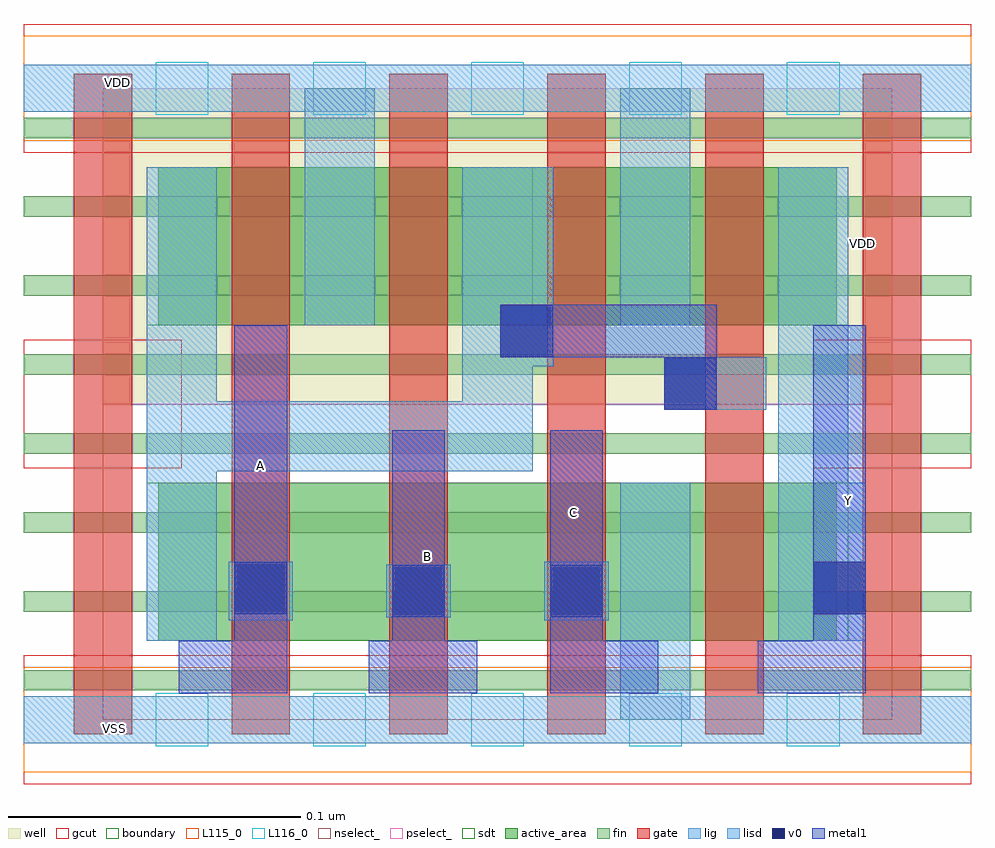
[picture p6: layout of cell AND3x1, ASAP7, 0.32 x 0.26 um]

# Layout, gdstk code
import gdstk
lib = gdstk.Library(unit=1e-6, precision=2.5e-10)
def R(c, l, rs):  # rectangles x0, y0, x1, y1
    for r in rs: c.add(gdstk.rectangle(r[:2], r[2:], *l))
def A(c, l, x, y, w, h, nx, ny, dx, dy):  # array of equal rectangles
    R(c, l, [(x+i*dx, y+j*dy, x+i*dx+w, y+j*dy+h) for i in range(nx) for j in range(ny)])
def P(c, l, *ps):  # polygons
    for p in ps: c.add(gdstk.Polygon(p, *l))
well = (1, 0)
fin = (2, 0)
gate = (7, 0)
gcut = (10, 0)
active_area = (11, 0)
nselect_ = (12, 0)
pselect_ = (13, 0)
lig = (16, 0)
lisd = (17, 0)
v0 = (18, 0)
metal1 = (19, 0)
sdt = (88, 0)
boundary = (100, 0)
L115_0 = (115, 0)
L116_0 = (116, 0)

and3x1 = lib.new_cell('AND3x1')
R(and3x1, well, [(0,0.108,0.27,0.216)])
A(and3x1, fin, -0.027, 0.01, 0.324, 0.007, 1, 8, 0, 0.027)
A(and3x1, gate, -0.01, -0.005, 0.02, 0.226, 6, 1, 0.054, 0)
R(and3x1, gate, [(0.26,-0.005,0.28,0.221), (0.26,-0.005,0.28,0.221), (0.26,-0.005,0.28,0.221), (0.26,-0.005,0.28,0.221)])
R(and3x1, gcut, [(-0.027,-0.022,0.297,0.022), (-0.027,0.086,0.027,0.13), (0.243,0.086,0.297,0.13), (-0.027,0.194,0.297,0.238)])
R(and3x1, active_area, [(0.019,0.027,0.251,0.081), (0.019,0.135,0.251,0.189)])
R(and3x1, nselect_, [(0,0,0.27,0.108)])
R(and3x1, pselect_, [(0,0.108,0.27,0.216)])
R(and3x1, lig, [(-0.027,-0.008,0.297,0.008), (0.043,0.034,0.065,0.054), (0.151,0.034,0.173,0.054), (0.097,0.035,0.119,0.053), (0.192,0.106,0.227,0.124), (-0.027,0.208,0.297,0.224)])
R(and3x1, lisd, [(0.177,0,0.201,0.081), (0.231,0.027,0.255,0.189), (0.237,0.027,0.261,0.081), (0.069,0.135,0.093,0.216), (0.177,0.135,0.201,0.216)])
P(and3x1, lisd, [(0.154,0.189),(0.123,0.189),(0.123,0.109),(0.039,0.109),(0.039,0.189),(0.015,0.189),(0.015,0.027),(0.039,0.027),(0.039,0.085),(0.147,0.085),(0.147,0.121),(0.154,0.121)])
R(and3x1, v0, [(0.099,0.035,0.117,0.053), (0.153,0.035,0.171,0.053), (0.045,0.036,0.063,0.054), (0.243,0.036,0.261,0.054), (0.192,0.106,0.21,0.124), (0.136,0.124,0.154,0.142)])
R(and3x1, metal1, [(0.026,0.009,0.063,0.027), (0.045,0.009,0.063,0.135), (0.091,0.009,0.128,0.027), (0.099,0.009,0.117,0.099), (0.153,0.009,0.19,0.027), (0.153,0.009,0.171,0.099), (0.224,0.009,0.261,0.027), (0.243,0.009,0.261,0.135), (0.192,0.106,0.21,0.142), (0.136,0.124,0.207,0.142)])
A(and3x1, sdt, 0.015, 0.135, 0.024, 0.054, 5, 1, 0.054, 0)
R(and3x1, sdt, [(0.015,0.027,0.039,0.081), (0.177,0.027,0.201,0.081), (0.231,0.027,0.255,0.081)])
R(and3x1, boundary, [(0,0,0.27,0.216)])
R(and3x1, L115_0, [(-0.027,-0.018,0.297,0.018), (-0.027,0.198,0.297,0.234)])
A(and3x1, L116_0, 0.018, -0.009, 0.018, 0.018, 5, 2, 0.054, 0.216)
and3x1.add(gdstk.Label('C', (0.161,0.071), layer=19, texttype=251))
and3x1.add(gdstk.Label('A', (0.054,0.087), layer=19, texttype=251))
and3x1.add(gdstk.Label('B', (0.111,0.056), layer=19, texttype=251))
and3x1.add(gdstk.Label('Y', (0.255,0.075), layer=19, texttype=251))
and3x1.add(gdstk.Label('VDD', (0.26,0.163), layer=1, texttype=251))
and3x1.add(gdstk.Label('VSS', (0.338,0.163), layer=3, texttype=251))
and3x1.add(gdstk.Label('VDD', (0.005,0.218), layer=115, texttype=251))
and3x1.add(gdstk.Label('VSS', (0.004,-0.003), layer=115, texttype=251))

lib.write_gds('AND3x1.gds')
